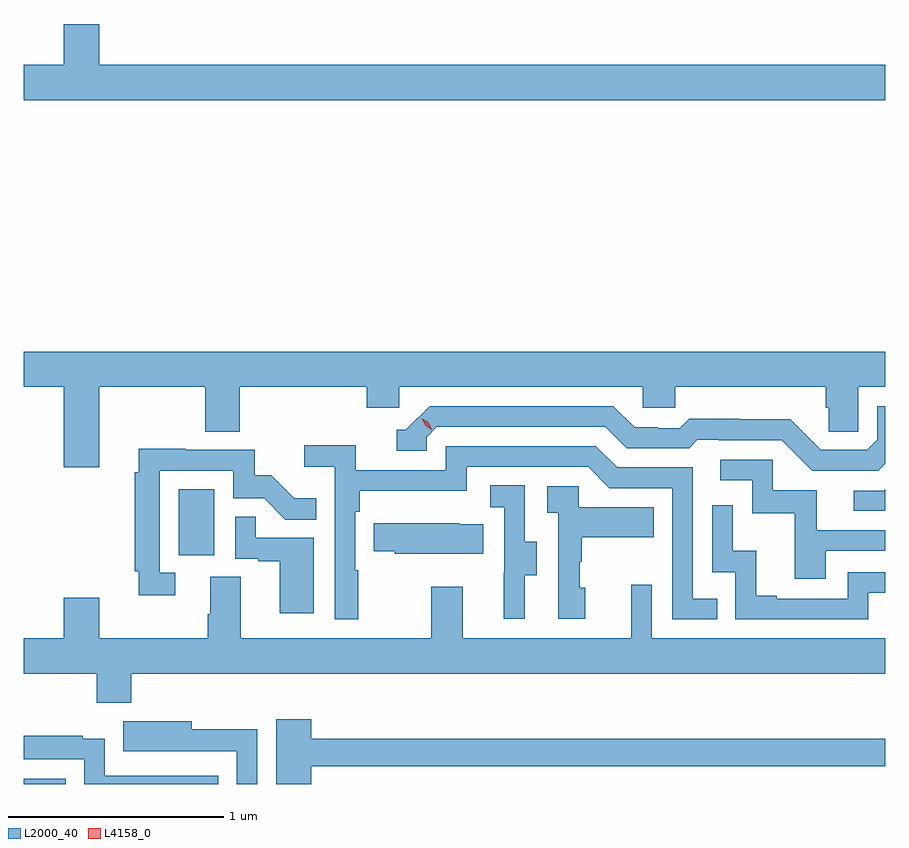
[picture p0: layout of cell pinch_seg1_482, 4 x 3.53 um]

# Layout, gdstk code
import gdstk
lib = gdstk.Library(unit=1e-6, precision=1e-09)
def R(c, l, rs):  # rectangles x0, y0, x1, y1
    for r in rs: c.add(gdstk.rectangle(r[:2], r[2:], *l))
def P(c, l, *ps):  # polygons
    for p in ps: c.add(gdstk.Polygon(p, *l))
L2000_40 = (2000, 40)
L4158_0 = (4158, 0)

pinch_seg1_482 = lib.new_cell('pinch_seg1_482')
R(pinch_seg1_482, L2000_40, [(1087.898,528.576,1088.093,528.6), (1088.618,529.638,1088.782,529.945)])
P(pinch_seg1_482, L2000_40, [(1091.898,531.916),(1088.248,531.916),(1088.248,532.105),(1088.084,532.105),(1088.084,531.916),(1087.898,531.916),(1087.898,531.752),(1091.898,531.752)],
  [(1088.248,530.42),(1088.74,530.42),(1088.74,530.212),(1088.9,530.212),(1088.9,530.42),(1089.491,530.42),(1089.491,530.322),(1089.642,530.322),(1089.642,530.42),(1090.773,530.42),(1090.773,530.322),(1090.923,530.322),(1090.923,530.42),(1091.621,530.42),(1091.621,530.322),(1091.635,530.322),(1091.635,530.212),(1091.772,530.212),(1091.772,530.42),(1091.898,530.42),(1091.898,530.584),(1087.898,530.584),(1087.898,530.42),(1088.084,530.42),(1088.084,530.046),(1088.248,530.046)],
  [(1091.898,530.064),(1091.898,530.331),(1091.862,530.331),(1091.862,530.175),(1091.814,530.127),(1091.598,530.127),(1091.456,530.269),(1091.22,530.269),(1091.22,530.272),(1090.987,530.272),(1090.945,530.229),(1090.842,530.229),(1090.842,530.232),(1090.735,530.232),(1090.636,530.331),(1089.783,530.331),(1089.672,530.22),(1089.629,530.22),(1089.629,530.124),(1089.768,530.124),(1089.768,530.187),(1089.816,530.235),(1090.599,530.235),(1090.698,530.136),(1090.987,530.136),(1091.026,530.175),(1091.125,530.175),(1091.125,530.172),(1091.418,530.172),(1091.559,530.031),(1091.865,530.031)],
  [(1089.451,529.568),(1089.438,529.568),(1089.438,529.841),(1089.458,529.841),(1089.458,529.937),(1089.954,529.937),(1089.954,530.049),(1090.518,530.049),(1090.617,529.95),(1090.908,529.95),(1090.908,529.341),(1091.117,529.341),(1091.117,529.437),(1091.004,529.437),(1091.004,530.046),(1090.654,530.046),(1090.555,530.145),(1089.858,530.145),(1089.858,530.034),(1089.44,530.034),(1089.44,530.15),(1089.201,530.15),(1089.201,530.048),(1089.342,530.048),(1089.342,529.341),(1089.451,529.341)],
  [(1088.602,529.557),(1088.529,529.557),(1088.529,530.031),(1088.871,530.031),(1088.871,529.902),(1089.015,529.902),(1089.113,529.804),(1089.257,529.804),(1089.257,529.903),(1089.153,529.903),(1089.046,530.01),(1088.97,530.01),(1088.97,530.127),(1088.651,530.127),(1088.651,530.132),(1088.432,530.132),(1088.432,530.024),(1088.413,530.024),(1088.413,529.564),(1088.432,529.564),(1088.432,529.452),(1088.602,529.452)],
  [(1091.623,529.659),(1091.898,529.659),(1091.898,529.755),(1091.581,529.755),(1091.581,529.941),(1091.376,529.941),(1091.376,530.082),(1091.133,530.082),(1091.133,529.986),(1091.28,529.986),(1091.28,529.833),(1091.479,529.833),(1091.479,529.53),(1091.623,529.53)],
  [(1090.225,529.546),(1090.279,529.546),(1090.279,529.701),(1090.224,529.701),(1090.224,529.964),(1090.065,529.964),(1090.065,529.861),(1090.128,529.861),(1090.128,529.557),(1090.127,529.557),(1090.127,529.344),(1090.225,529.344)],
  [(1090.504,529.488),(1090.479,529.488),(1090.479,529.607),(1090.489,529.607),(1090.489,529.721),(1090.823,529.721),(1090.823,529.861),(1090.476,529.861),(1090.476,529.959),(1090.329,529.959),(1090.329,529.835),(1090.38,529.835),(1090.38,529.344),(1090.504,529.344)],
  [(1091.898,529.944),(1091.892,529.938),(1091.751,529.938),(1091.751,529.845),(1091.898,529.845)],
  [(1091.82,529.464),(1091.898,529.464),(1091.898,529.56),(1091.724,529.56),(1091.724,529.437),(1091.395,529.437),(1091.395,529.45),(1091.3,529.45),(1091.3,529.658),(1091.19,529.658),(1091.19,529.87),(1091.094,529.87),(1091.094,529.56),(1091.202,529.56),(1091.202,529.341),(1091.82,529.341)],
  [(1089.244,529.719),(1088.975,529.719),(1088.975,529.817),(1088.88,529.817),(1088.88,529.623),(1088.987,529.623),(1088.987,529.611),(1089.086,529.611),(1089.086,529.368),(1089.244,529.368)],
  [(1090.031,529.783),(1089.923,529.783),(1089.923,529.786),(1089.523,529.786),(1089.523,529.657),(1089.621,529.657),(1089.621,529.646),(1090.031,529.646)],
  [(1088.396,529.088),(1091.898,529.088),(1091.898,529.252),(1090.815,529.252),(1090.815,529.501),(1090.718,529.501),(1090.718,529.252),(1089.937,529.252),(1089.937,529.492),(1089.79,529.492),(1089.79,529.252),(1088.905,529.252),(1088.905,529.538),(1088.765,529.538),(1088.765,529.364),(1088.753,529.364),(1088.753,529.252),(1088.248,529.252),(1088.248,529.441),(1088.084,529.441),(1088.084,529.252),(1087.898,529.252),(1087.898,529.088),(1088.236,529.088),(1088.236,528.953),(1088.396,528.953)],
  [(1089.232,528.658),(1091.898,528.658),(1091.898,528.787),(1089.232,528.787),(1089.232,528.877),(1089.071,528.877),(1089.071,528.576),(1089.232,528.576)],
  [(1088.982,528.83),(1088.677,528.83),(1088.677,528.868),(1088.359,528.868),(1088.359,528.728),(1088.573,528.728),(1088.573,528.729),(1088.886,528.729),(1088.886,528.576),(1088.982,528.576)],
  [(1088.8,528.615),(1088.274,528.615),(1088.274,528.787),(1088.171,528.787),(1088.171,528.799),(1087.898,528.799),(1087.898,528.69),(1088.178,528.69),(1088.178,528.576),(1088.8,528.576)])
P(pinch_seg1_482, L4158_0, [(1089.793,530.222),(1089.762,530.242),(1089.746,530.274),(1089.746,530.274),(1089.747,530.274),(1089.777,530.255),(1089.793,530.222),(1089.793,530.222)])

lib.write_gds('pinch_seg1_482.gds')
